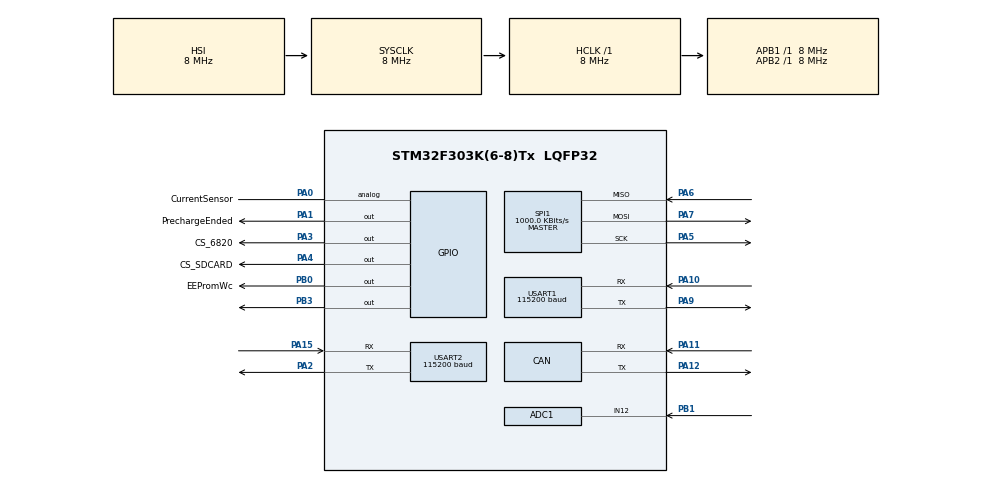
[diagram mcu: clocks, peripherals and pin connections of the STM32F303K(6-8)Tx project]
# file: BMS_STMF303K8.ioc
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ADC1.Channel-0\#ChannelRegularConversion=ADC_CHANNEL_12
ADC1.NbrOfConversionFlag=1
ADC1.Offset-0\#ChannelRegularConversion=0
ADC1.OffsetNumber-0\#ChannelRegularConversion=ADC_OFFSET_NONE
ADC1.Rank-0\#ChannelRegularConversion=1
ADC1.SamplingTime-0\#ChannelRegularConversion=ADC_SAMPLETIME_1CYCLE_5
ADC1.SubFamily=STM32F303x8
ADC1.master=1
CAN.CalculateTimeQuantum=2000.0
Mcu.Family=STM32F3
Mcu.Name=STM32F303K(6-8)Tx
Mcu.Package=LQFP32
NVIC.PriorityGroup=NVIC_PRIORITYGROUP_4
PA0.GPIO_Label=CurrentSensor
PA0.Signal=GPIO_Analog
PA1.GPIO_Label=PrechargeEnded
PA1.PinState=GPIO_PIN_SET
PA1.Signal=GPIO_Output
PA10.Mode=Asynchronous
PA10.Signal=USART1_RX
PA11.GPIO_PuPd=GPIO_PULLUP
PA11.Mode=Master
PA11.Signal=CAN_RX
PA12.GPIO_PuPd=GPIO_PULLUP
PA12.Mode=Master
PA12.Signal=CAN_TX
PA13.Mode=Serial_Wire
PA13.Signal=SYS_JTMS-SWDIO
PA14.Mode=Serial_Wire
PA14.Signal=SYS_JTCK-SWCLK
PA15.Mode=Asynchronous
PA15.Signal=USART2_RX
PA2.Mode=Asynchronous
PA2.Signal=USART2_TX
PA3.GPIO_Label=CS_6820
PA3.PinState=GPIO_PIN_SET
PA3.Signal=GPIO_Output
PA4.GPIO_Label=CS_SDCARD
PA4.PinState=GPIO_PIN_SET
PA4.Signal=GPIO_Output
PA5.Mode=Full_Duplex_Master
PA5.Signal=SPI1_SCK
PA6.Mode=Full_Duplex_Master
PA6.Signal=SPI1_MISO
PA7.Mode=Full_Duplex_Master
PA7.Signal=SPI1_MOSI
PA9.Mode=Asynchronous
PA9.Signal=USART1_TX
PB0.GPIO_Label=EEPromWc
PB0.PinState=GPIO_PIN_SET
PB0.Signal=GPIO_Output
PB1.Mode=IN12-Single-Ended
PB1.Signal=ADC1_IN12
PB3.PinState=GPIO_PIN_SET
PB3.Signal=GPIO_Output
ProjectManager.HeapSize=0x200
ProjectManager.StackSize=0x400
ProjectManager.TargetToolchain=SW4STM32
RCC.AHBFreq_Value=8000000
RCC.APB1Freq_Value=8000000
RCC.APB2Freq_Value=8000000
RCC.CortexFreq_Value=8000000
RCC.HSE_VALUE=8000000
RCC.HSI_VALUE=8000000
RCC.PLLMUL=RCC_PLL_MUL4
RCC.SYSCLKFreq_VALUE=8000000
SPI1.BaudRatePrescaler=SPI_BAUDRATEPRESCALER_8
SPI1.CalculateBaudRate=1000.0 KBits/s
SPI1.DataSize=SPI_DATASIZE_8BIT
SPI1.Direction=SPI_DIRECTION_2LINES
SPI1.Mode=SPI_MODE_MASTER
SPI1.VirtualType=VM_MASTER
USART1.BaudRate=115200
USART1.VirtualMode-Asynchronous=VM_ASYNC
USART1.WordLength=WORDLENGTH_8B
USART2.BaudRate=115200
USART2.VirtualMode-Asynchronous=VM_ASYNC
USART2.WordLength=WORDLENGTH_8B
board=BMS_STMF303K8

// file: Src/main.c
/**
  ******************************************************************************
  * @file           : main.c
  * @brief          : Main program body
  ******************************************************************************
  ** This notice applies to any and all portions of this file
  * that are not between comment pairs USER CODE BEGIN and
  * USER CODE END. Other portions of this file, whether
  * inserted by the user or by software development tools
  * are owned by their respective copyright owners.
  *
  * COPYRIGHT(c) 2018 STMicroelectronics
  *
  * Redistribution and use in source and binary forms, with or without modification,
  * are permitted provided that the following conditions are met:
  *   1. Redistributions of source code must retain the above copyright notice,
  *      this list of conditions and the following disclaimer.
  *   2. Redistributions in binary form must reproduce the above copyright notice,
  *      this list of conditions and the following disclaimer in the documentation
  *      and/or other materials provided with the distribution.
  *   3. Neither the name of STMicroelectronics nor the names of its contributors
  *      may be used to endorse or promote products derived from this software
  *      without specific prior written permission.
  *
  * THIS SOFTWARE IS PROVIDED BY THE COPYRIGHT HOLDERS AND CONTRIBUTORS "AS IS"
  * AND ANY EXPRESS OR IMPLIED WARRANTIES, INCLUDING, BUT NOT LIMITED TO, THE
  * IMPLIED WARRANTIES OF MERCHANTABILITY AND FITNESS FOR A PARTICULAR PURPOSE ARE
  * DISCLAIMED. IN NO EVENT SHALL THE COPYRIGHT HOLDER OR CONTRIBUTORS BE LIABLE
  * FOR ANY DIRECT, INDIRECT, INCIDENTAL, SPECIAL, EXEMPLARY, OR CONSEQUENTIAL
  * DAMAGES (INCLUDING, BUT NOT LIMITED TO, PROCUREMENT OF SUBSTITUTE GOODS OR
  * SERVICES; LOSS OF USE, DATA, OR PROFITS; OR BUSINESS INTERRUPTION) HOWEVER
  * CAUSED AND ON ANY THEORY OF LIABILITY, WHETHER IN CONTRACT, STRICT LIABILITY,
  * OR TORT (INCLUDING NEGLIGENCE OR OTHERWISE) ARISING IN ANY WAY OUT OF THE USE
  * OF THIS SOFTWARE, EVEN IF ADVISED OF THE POSSIBILITY OF SUCH DAMAGE.
  *
  ******************************************************************************
  */
#include "main.h"
#include "stm32f3xx_hal.h"

/* USER CODE BEGIN Includes */

//#include "measurement.h"
//#include "eeprom.h"
//#include "can.h"
#include "ltc68xx.h"
//#include "ltc1865.h"
#include <string.h>
#include <stdlib.h>
#include <inttypes.h>

#define TOT_IC 12 // number of daisy chain
#define CELL_CH 9
#define NUM_RX_BYT 8u
#define BYT_IN_REG 6u
#define CELL_IN_REG 3u
#define NUM_CV_REG 3u
//CAN_FilterConfTypeDef sFilter;
//CanRxMsgTypeDef RxHeader;
/* USER CODE END Includes */

ADC_HandleTypeDef hadc1;

CAN_HandleTypeDef hcan;

SPI_HandleTypeDef hspi1;

UART_HandleTypeDef huart1;
UART_HandleTypeDef huart2;

/* USER CODE BEGIN PV */
/* Private variables ---------------------------------------------------------*/

 uint8_t cell_data[9];
 float cell_voltages[108];
 uint16_t cell_temps[108];
 uint16_t parsed_cell;
 uint16_t received_pec;
 uint16_t data_pec;
 uint8_t pec_error=0;
 int counterCicle = 0;
 float *av_temp1 = 0;
 float *av_temp2 = 0;
 float *av_temp3 = 0;
 uint32_t *adcBuffer;

 uint8_t *totalPack;
  		 uint8_t *tractiveVoltage;

  		 uint16_t *max_vol;
  			 uint16_t *min_vol;
  			 float *average_vol;

  			uint16_t temp[9];
/* USER CODE END PV */

void SystemClock_Config(void);
static void MX_GPIO_Init(void);
static void MX_ADC1_Init(void);
static void MX_CAN_Init(void);
static void MX_SPI1_Init(void);
static void MX_USART1_UART_Init(void);
static void MX_USART2_UART_Init(void);

/* USER CODE BEGIN PFP */
/* Private function prototypes -----------------------------------------------*/
int GetMSB(int intValue)
{
   return (intValue & 0xFFFF0000);
}
int GetLSB(int intValue)
{
  return (intValue & 0x0000FFFF);
}
/* USER CODE END PFP */

int main(void)
{

  /* MCU Configuration----------------------------------------------------------*/

  /* Reset of all peripherals, Initializes the Flash interface and the Systick. */
  HAL_Init();

  /* Configure the system clock */
  SystemClock_Config();

  /* Initialize all configured peripherals */
  MX_GPIO_Init();
  MX_ADC1_Init();
  MX_CAN_Init();
  MX_SPI1_Init();
  MX_USART1_UART_Init();
  MX_USART2_UART_Init();
  /* USER CODE BEGIN 2 */

  /* SETTING CAN */
//  sFilter.FilterMode = CAN_FILTERMODE_IDMASK;
//  sFilter.FilterMode = CAN_FILTERMODE_IDMASK;
//  sFilter.FilterIdLow = 0;
//  sFilter.FilterIdHigh = 0;
//  sFilter.FilterMaskIdHigh = 0;
//  sFilter.FilterMaskIdLow = 0;
//  sFilter.FilterFIFOAssignment = CAN_FILTER_FIFO0;
//  sFilter.BankNumber = 0;
//  sFilter.FilterScale = CAN_FILTERSCALE_16BIT;
//  sFilter.FilterActivation = ENABLE;
//  HAL_CAN_ConfigFilter(&hcan, &sFilter);
//
//  HAL_CAN_Init(&hcan);

  /* USER CODE END 2 */

  /* Infinite loop */
  /* USER CODE BEGIN WHILE */
  //float offset=Current_Calibration_Offset(hadc1);

  /* USER CODE END 2 */

  /* Infinite loop */
  /* USER CODE BEGIN WHILE */
  uint16_t voltages[9];
 // voltages = (uint16_t*)malloc(9*sizeof(uint16_t));
//  cell_data = (uint8_t*)malloc(9*sizeof(uint8_t));
//  cell_codes = (uint16_t*)malloc(9*12*sizeof(uint16_t));

//  float offset=Current_Calibration_Offset(hadc1);
  while (1)
  {

  /* USER CODE END WHILE */

  /* USER CODE BEGIN 3 */
	  HAL_GPIO_TogglePin(GPIOB, GPIO_PIN_3);

	  	int id = 0;

	 	 // GPIO Logic
	 	 //Precharge off
	 	// HAL_GPIO_WritePin(GPIOA, GPIO_PIN_1, GPIO_PIN_RESET);
//	 	 GPIO_PinState ShutDown_Status;
//	 	 ShutDown_Status = HAL_GPIO_ReadPin(GPIOA, GPIO_PIN_6);
//	 	 if(ShutDown_Status == GPIO_PIN_SET){
//
//	 		 while(totalPack != tractiveVoltage){
//	 			 menu_1_read_single_ended(hspi1, tractiveVoltage, totalPack);
//	 		 }
//	 		 // Monitorare Total voltage e tractive system voltage
//	 		 // Quando sono uguali ---> precharge on
//	 		 HAL_GPIO_WritePin(GPIOA, GPIO_PIN_1, GPIO_PIN_SET);
//	 		 HAL_Delay(1);
//	 		 HAL_GPIO_WritePin(GPIOA, GPIO_PIN_1, GPIO_PIN_RESET);
//	 	 }
//
//	 	 if(ShutDown_Status == GPIO_PIN_RESET){
//	 		 HAL_GPIO_WritePin(GPIOA, GPIO_PIN_1, GPIO_PIN_RESET);
//	 		 HAL_GPIO_WritePin(GPIOA, GPIO_PIN_9, GPIO_PIN_RESET);
//	 		 //CAN SEND TS OFF
//	 	 }

	 	 //QUANDO ARRIVA IL MESSAGGIO CAN TS ON ----> ATTIVA IL TRACTIVE SYSTEM

	 	 //QUANDO ARRIVA IL MESSAGGIO CAN TS OFF ----> DISATTIVA IL TRACTIVE SYSTEM
//
//	 	HAL_ADC_Start_DMA(&hadc1, (uint32_t*) adcBuffer, 1); // Call DMA for ADC1
//
//	 	HAL_Delay(0.05); // Wait for conversion
//	 	HAL_ADC_Stop_DMA(&hadc1);
//	 	uint32_t Current = Get_Amps_Value(adcBuffer,(uint16_t)offset);
//
//

	  	 /* ----- Voltages ------*/
	  	 ltc6804_adcv(MD_7KHZ_3KHZ, DCP_DISABLED, CELL_CH_ALL, hspi1);
	  	 HAL_Delay(10);
		 uint8_t data_counter = 0;
		 for(uint8_t current_ic = 11; current_ic < TOT_IC; current_ic++){

				 ltc6804_rdcv_reg(current_ic, TOT_IC, cell_data, hspi1);
				 HAL_Delay(500);
		 	 	 array_voltages(voltages, cell_data);

		 	 	char num[2];
		 	 	sprintf(num, "\r\n");
		 	 	HAL_UART_Transmit(&huart2, &num, strlen(num), 100);
		 	 	 for(int i = 0; i < 9; i++){
		 	 		 char v[32];
		 	 		 sprintf(v, "%d - ",voltages[i]);
		 	 		 HAL_UART_Transmit(&huart2, &v, strlen(v), 100);
		 	 		 cell_voltages[current_ic*9+i] = voltages[i]*0.0001f;
		 	  	 }

		 }
		 //char num[8];

//		 max_min_voltages(cell_codes, max_vol, min_vol, average_vol);
//		 //Can Messages
//
//		 /* ----- Temperatures -----*/
//
			 ltc6804_address_temp_odd(MD_7KHZ_3KHZ, DCP_DISABLED, CELL_CH_ALL, hspi1);
			 HAL_Delay(10);
			 ltc6804_adcv_temp(MD_7KHZ_3KHZ, DCP_DISABLED, CELL_CH_ALL, hspi1);
			 HAL_Delay(10);
			 for(uint8_t current_ic = 11; current_ic < TOT_IC; current_ic++){
				 ltc6804_rdcv_temp(current_ic, TOT_IC, cell_data, hspi1);
				 HAL_Delay(500);
				 	 array_temp_odd(temp, cell_data);

				 	 cell_temps[current_ic*9+0] = (uint16_t)(convert_temp(temp[0])*100);
				 	 cell_temps[current_ic*9+2] = (uint16_t)(convert_temp(temp[2])*100);
				 	 cell_temps[current_ic*9+4] = (uint16_t)(convert_temp(temp[4])*100);
				 	 cell_temps[current_ic*9+6] = (uint16_t)(convert_temp(temp[6])*100);
				 	 cell_temps[current_ic*9+8] = (uint16_t)(convert_temp(temp[8])*100);

			 }

			 //
	//		 //ltc6804_rdcv_temp(...);
	//		 convert_temp();
	//
	//		 //even temp
			 ltc6804_address_temp_even(MD_7KHZ_3KHZ, DCP_DISABLED, CELL_CH_ALL, hspi1);
			 HAL_Delay(10);
			 ltc6804_adcv_temp(MD_7KHZ_3KHZ, DCP_DISABLED, CELL_CH_ALL, hspi1);
			 HAL_Delay(10);
			 for(uint8_t current_ic = 11; current_ic < TOT_IC; current_ic++){
				 ltc6804_rdcv_temp(current_ic, TOT_IC, cell_data, hspi1);
				 HAL_Delay(500);
				 array_temp_even(temp, cell_data);

			 		 cell_temps[current_ic*9+1] = (uint16_t)(convert_temp(temp[1])*100);
			 		 cell_temps[current_ic*9+3] = (uint16_t)(convert_temp(temp[3])*100);
			 		 cell_temps[current_ic*9+5] = (uint16_t)(convert_temp(temp[5])*100);
			 		 cell_temps[current_ic*9+7] = (uint16_t)(convert_temp(temp[7])*100);

			 }
			 for(int i = 99; i <108 ; i++){
			 					 char v[32];
			  					 sprintf(v, "%d - ",cell_temps[i]);
			 					 HAL_UART_Transmit(&huart2, &v, strlen(v), 100);
			  					 }

			 ltc6804_stop_temp(MD_7KHZ_3KHZ, DCP_DISABLED, CELL_CH_ALL, hspi1);
			 	 HAL_Delay(500);
//		 // Controllo Temperatura massima
//		 uint16_t *max_temp = 0;
//		 if(counterCicle % 3 == 0){
//			 max_ave_temp(cell_codes_temp, max_temp, av_temp1);
//		 }
//		 if(counterCicle % 3 == 1){
//		 	 max_ave_temp(cell_codes_temp, max_temp, av_temp2);
//		 }
//		 if(counterCicle % 3 == 2){
//		 	 max_ave_temp(cell_codes_temp, max_temp, av_temp3);
//		 }
//		 float average = 0;
//		 if(counterCicle > 2){
//
//		 average = (*av_temp1 + *av_temp2 + *av_temp3)/3;
//
//
//
//		 if(average < 60 && *max_vol*0.0001f < 4.20 && *min_vol*0.0001f > 2.80){
//			 HAL_GPIO_WritePin(GPIOA, GPIO_PIN_10, GPIO_PIN_SET);
//		 }
//		 }
//		 float **converted_temp;
//		 for(int i = 0; i < 12; i++){
//			 for(int j = 0; j < 9; j++){
//				 converted_temp[i][j] = convert_temp(cell_codes_temp[i][j]);
//			 }
//		 }
//
//		 //CAN MESSAGES
//		 uint16_t tot_vol = total_pack_voltage(cell_codes);
////
////		 CAN_Send(id,(uint8_t)max_vol, 8, hcan);
////		 CAN_Send(id,(uint8_t)min_vol, 8, hcan);
////		 CAN_Send(id, tot_vol, 8, hcan);
////		 CAN_Send(id, (tot_vol << 8), 8, hcan);
////		 CAN_Send(id,*max_temp, 8, hcan);
////		 CAN_Send(id,*max_temp << 8, 8, hcan);
////		 CAN_Send(id,(uint8_t)average, 8, hcan);
////		 for(int i = 0; i < TOT_IC; i++){
////			 for(int j = 0; j < 9; j++){
////				 CAN_Send(id, (uint8_t)cell_codes[i][j], 8, hcan);
////				 CAN_Send(id, (uint8_t)cell_codes[i][j] << 8, 8, hcan);
////				 CAN_Send(id, (uint8_t)cell_codes_temp[i][j], 8, hcan);
////				 CAN_Send(id, (uint8_t)cell_codes_temp[i][j] << 8, 8, hcan);
////			 }
////		 }
//

		 counterCicle = counterCicle + 1;
		 HAL_Delay(500);
  }
  /* USER CODE END 3 */

}

void SystemClock_Config(void)
{

  RCC_OscInitTypeDef RCC_OscInitStruct;
  RCC_ClkInitTypeDef RCC_ClkInitStruct;
  RCC_PeriphCLKInitTypeDef PeriphClkInit;

    /**Initializes the CPU, AHB and APB busses clocks
    */
  RCC_OscInitStruct.OscillatorType = RCC_OSCILLATORTYPE_HSI;
  RCC_OscInitStruct.HSIState = RCC_HSI_ON;
  RCC_OscInitStruct.HSICalibrationValue = 16;
  RCC_OscInitStruct.PLL.PLLState = RCC_PLL_ON;
  RCC_OscInitStruct.PLL.PLLSource = RCC_PLLSOURCE_HSI;
  RCC_OscInitStruct.PLL.PLLMUL = RCC_PLL_MUL4;
  if (HAL_RCC_OscConfig(&RCC_OscInitStruct) != HAL_OK)
  {
    _Error_Handler(__FILE__, __LINE__);
  }

    /**Initializes the CPU, AHB and APB busses clocks
    */
  RCC_ClkInitStruct.ClockType = RCC_CLOCKTYPE_HCLK|RCC_CLOCKTYPE_SYSCLK
                              |RCC_CLOCKTYPE_PCLK1|RCC_CLOCKTYPE_PCLK2;
  RCC_ClkInitStruct.SYSCLKSource = RCC_SYSCLKSOURCE_HSI;
  RCC_ClkInitStruct.AHBCLKDivider = RCC_SYSCLK_DIV1;
  RCC_ClkInitStruct.APB1CLKDivider = RCC_HCLK_DIV1;
  RCC_ClkInitStruct.APB2CLKDivider = RCC_HCLK_DIV1;

  if (HAL_RCC_ClockConfig(&RCC_ClkInitStruct, FLASH_LATENCY_0) != HAL_OK)
  {
    _Error_Handler(__FILE__, __LINE__);
  }

  PeriphClkInit.PeriphClockSelection = RCC_PERIPHCLK_USART1|RCC_PERIPHCLK_ADC12;
  PeriphClkInit.Usart1ClockSelection = RCC_USART1CLKSOURCE_PCLK1;
  PeriphClkInit.Adc12ClockSelection = RCC_ADC12PLLCLK_DIV1;
  if (HAL_RCCEx_PeriphCLKConfig(&PeriphClkInit) != HAL_OK)
  {
    _Error_Handler(__FILE__, __LINE__);
  }

    /**Configure the Systick interrupt time
    */
  HAL_SYSTICK_Config(HAL_RCC_GetHCLKFreq()/1000);

    /**Configure the Systick
    */
  HAL_SYSTICK_CLKSourceConfig(SYSTICK_CLKSOURCE_HCLK);

  /* SysTick_IRQn interrupt configuration */
  HAL_NVIC_SetPriority(SysTick_IRQn, 0, 0);
}

/* ADC1 init function */
static void MX_ADC1_Init(void)
{

  ADC_MultiModeTypeDef multimode;
  ADC_ChannelConfTypeDef sConfig;

    /**Common config
    */
  hadc1.Instance = ADC1;
  hadc1.Init.ClockPrescaler = ADC_CLOCK_ASYNC_DIV1;
  hadc1.Init.Resolution = ADC_RESOLUTION_12B;
  hadc1.Init.ScanConvMode = ADC_SCAN_DISABLE;
  hadc1.Init.ContinuousConvMode = DISABLE;
  hadc1.Init.DiscontinuousConvMode = DISABLE;
  hadc1.Init.ExternalTrigConvEdge = ADC_EXTERNALTRIGCONVEDGE_NONE;
  hadc1.Init.ExternalTrigConv = ADC_SOFTWARE_START;
  hadc1.Init.DataAlign = ADC_DATAALIGN_RIGHT;
  hadc1.Init.NbrOfConversion = 1;
  hadc1.Init.DMAContinuousRequests = DISABLE;
  hadc1.Init.EOCSelection = ADC_EOC_SINGLE_CONV;
  hadc1.Init.LowPowerAutoWait = DISABLE;
  hadc1.Init.Overrun = ADC_OVR_DATA_OVERWRITTEN;
  if (HAL_ADC_Init(&hadc1) != HAL_OK)
  {
    _Error_Handler(__FILE__, __LINE__);
  }

    /**Configure the ADC multi-mode
    */
  multimode.Mode = ADC_MODE_INDEPENDENT;
  if (HAL_ADCEx_MultiModeConfigChannel(&hadc1, &multimode) != HAL_OK)
  {
    _Error_Handler(__FILE__, __LINE__);
  }

    /**Configure Regular Channel
    */
  sConfig.Channel = ADC_CHANNEL_12;
  sConfig.Rank = ADC_REGULAR_RANK_1;
  sConfig.SingleDiff = ADC_SINGLE_ENDED;
  sConfig.SamplingTime = ADC_SAMPLETIME_1CYCLE_5;
  sConfig.OffsetNumber = ADC_OFFSET_NONE;
  sConfig.Offset = 0;
  if (HAL_ADC_ConfigChannel(&hadc1, &sConfig) != HAL_OK)
  {
    _Error_Handler(__FILE__, __LINE__);
  }

}

/* CAN init function */
static void MX_CAN_Init(void)
{

  hcan.Instance = CAN;
  hcan.Init.Prescaler = 16;
  hcan.Init.Mode = CAN_MODE_NORMAL;
  hcan.Init.SJW = CAN_SJW_1TQ;
  hcan.Init.BS1 = CAN_BS1_1TQ;
  hcan.Init.BS2 = CAN_BS2_1TQ;
  hcan.Init.TTCM = DISABLE;
  hcan.Init.ABOM = DISABLE;
  hcan.Init.AWUM = DISABLE;
  hcan.Init.NART = DISABLE;
  hcan.Init.RFLM = DISABLE;
  hcan.Init.TXFP = DISABLE;
  if (HAL_CAN_Init(&hcan) != HAL_OK)
  {
    _Error_Handler(__FILE__, __LINE__);
  }

}

/* SPI1 init function */
static void MX_SPI1_Init(void)
{

  /* SPI1 parameter configuration*/
  hspi1.Instance = SPI1;
  hspi1.Init.Mode = SPI_MODE_MASTER;
  hspi1.Init.Direction = SPI_DIRECTION_2LINES;
  hspi1.Init.DataSize = SPI_DATASIZE_8BIT;
  hspi1.Init.CLKPolarity = SPI_POLARITY_LOW;
  hspi1.Init.CLKPhase = SPI_PHASE_1EDGE;
  hspi1.Init.NSS = SPI_NSS_SOFT;
  hspi1.Init.BaudRatePrescaler = SPI_BAUDRATEPRESCALER_8;
  hspi1.Init.FirstBit = SPI_FIRSTBIT_MSB;
  hspi1.Init.TIMode = SPI_TIMODE_DISABLE;
  hspi1.Init.CRCCalculation = SPI_CRCCALCULATION_DISABLE;
  hspi1.Init.CRCPolynomial = 7;
  hspi1.Init.CRCLength = SPI_CRC_LENGTH_DATASIZE;
  hspi1.Init.NSSPMode = SPI_NSS_PULSE_ENABLE;
  if (HAL_SPI_Init(&hspi1) != HAL_OK)
  {
    _Error_Handler(__FILE__, __LINE__);
  }

}

/* USART1 init function */
static void MX_USART1_UART_Init(void)
{

  huart1.Instance = USART1;
  huart1.Init.BaudRate = 115200;
  huart1.Init.WordLength = UART_WORDLENGTH_8B;
  huart1.Init.StopBits = UART_STOPBITS_1;
  huart1.Init.Parity = UART_PARITY_NONE;
  huart1.Init.Mode = UART_MODE_TX_RX;
  huart1.Init.HwFlowCtl = UART_HWCONTROL_NONE;
  huart1.Init.OverSampling = UART_OVERSAMPLING_16;
  huart1.Init.OneBitSampling = UART_ONE_BIT_SAMPLE_DISABLE;
  huart1.AdvancedInit.AdvFeatureInit = UART_ADVFEATURE_NO_INIT;
  if (HAL_UART_Init(&huart1) != HAL_OK)
  {
    _Error_Handler(__FILE__, __LINE__);
  }

}

/* USART2 init function */
static void MX_USART2_UART_Init(void)
{

  huart2.Instance = USART2;
  huart2.Init.BaudRate = 115200;
  huart2.Init.WordLength = UART_WORDLENGTH_8B;
  huart2.Init.StopBits = UART_STOPBITS_1;
  huart2.Init.Parity = UART_PARITY_NONE;
  huart2.Init.Mode = UART_MODE_TX_RX;
  huart2.Init.HwFlowCtl = UART_HWCONTROL_NONE;
  huart2.Init.OverSampling = UART_OVERSAMPLING_16;
  huart2.Init.OneBitSampling = UART_ONE_BIT_SAMPLE_DISABLE;
  huart2.AdvancedInit.AdvFeatureInit = UART_ADVFEATURE_NO_INIT;
  if (HAL_UART_Init(&huart2) != HAL_OK)
  {
    _Error_Handler(__FILE__, __LINE__);
  }

}

/** Configure pins as
        * Analog
        * Input
        * Output
        * EVENT_OUT
        * EXTI
*/
static void MX_GPIO_Init(void)
{

  GPIO_InitTypeDef GPIO_InitStruct;

  /* GPIO Ports Clock Enable */
  __HAL_RCC_GPIOA_CLK_ENABLE();
  __HAL_RCC_GPIOB_CLK_ENABLE();

  /*Configure GPIO pin Output Level */
  HAL_GPIO_WritePin(GPIOA, PrechargeEnded_Pin|CS_6820_Pin|CS_SDCARD_Pin, GPIO_PIN_SET);

  /*Configure GPIO pin Output Level */
  HAL_GPIO_WritePin(GPIOB, EEPromWc_Pin|GPIO_PIN_3, GPIO_PIN_SET);

  /*Configure GPIO pin : CurrentSensor_Pin */
  GPIO_InitStruct.Pin = CurrentSensor_Pin;
  GPIO_InitStruct.Mode = GPIO_MODE_ANALOG;
  GPIO_InitStruct.Pull = GPIO_NOPULL;
  HAL_GPIO_Init(CurrentSensor_GPIO_Port, &GPIO_InitStruct);

  /*Configure GPIO pins : PrechargeEnded_Pin CS_6820_Pin CS_SDCARD_Pin */
  GPIO_InitStruct.Pin = PrechargeEnded_Pin|CS_6820_Pin|CS_SDCARD_Pin;
  GPIO_InitStruct.Mode = GPIO_MODE_OUTPUT_PP;
  GPIO_InitStruct.Pull = GPIO_NOPULL;
  GPIO_InitStruct.Speed = GPIO_SPEED_FREQ_LOW;
  HAL_GPIO_Init(GPIOA, &GPIO_InitStruct);

  /*Configure GPIO pins : EEPromWc_Pin PB3 */
  GPIO_InitStruct.Pin = EEPromWc_Pin|GPIO_PIN_3;
  GPIO_InitStruct.Mode = GPIO_MODE_OUTPUT_PP;
  GPIO_InitStruct.Pull = GPIO_NOPULL;
  GPIO_InitStruct.Speed = GPIO_SPEED_FREQ_LOW;
  HAL_GPIO_Init(GPIOB, &GPIO_InitStruct);

}

void _Error_Handler(char *file, int line)
{
  while(1)
  {
  }
}

/************************ (C) COPYRIGHT STMicroelectronics *****END OF FILE****/
